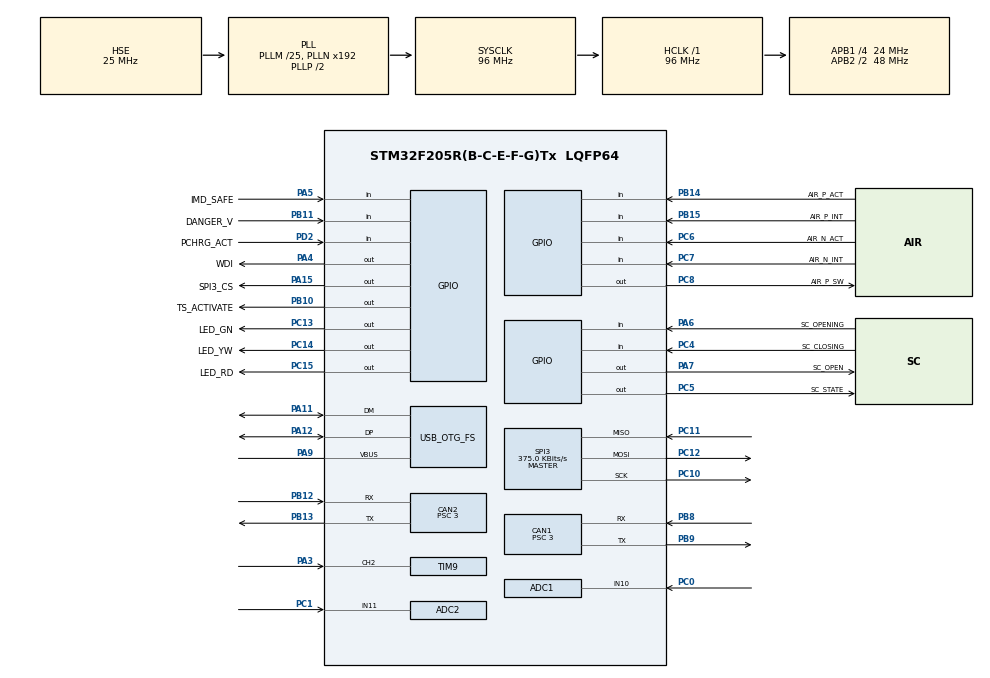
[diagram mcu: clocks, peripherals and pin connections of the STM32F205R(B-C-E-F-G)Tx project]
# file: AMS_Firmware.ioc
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ADC1.Channel-1\#ChannelRegularConversion=ADC_CHANNEL_10
ADC1.ClockPrescaler=ADC_CLOCK_SYNC_PCLK_DIV4
ADC1.NbrOfConversionFlag=1
ADC1.Rank-1\#ChannelRegularConversion=1
ADC1.SamplingTime-1\#ChannelRegularConversion=ADC_SAMPLETIME_3CYCLES
ADC1.master=1
ADC2.Channel-1\#ChannelRegularConversion=ADC_CHANNEL_11
ADC2.ClockPrescaler=ADC_CLOCK_SYNC_PCLK_DIV4
ADC2.NbrOfConversionFlag=1
ADC2.Rank-1\#ChannelRegularConversion=1
ADC2.SamplingTime-1\#ChannelRegularConversion=ADC_SAMPLETIME_3CYCLES
CAN1.BS1=CAN_BS1_13TQ
CAN1.BS2=CAN_BS2_2TQ
CAN1.CalculateBaudRate=500000
CAN1.CalculateTimeBit=2000
CAN1.CalculateTimeQuantum=125.0
CAN1.NART=DISABLE
CAN1.Prescaler=3
CAN1.TTCM=DISABLE
CAN2.BS1=CAN_BS1_13TQ
CAN2.BS2=CAN_BS2_2TQ
CAN2.CalculateBaudRate=500000
CAN2.CalculateTimeBit=2000
CAN2.CalculateTimeQuantum=125.0
CAN2.Mode=CAN_MODE_NORMAL
CAN2.NART=DISABLE
CAN2.Prescaler=3
Mcu.Family=STM32F2
Mcu.Name=STM32F205R(B-C-E-F-G)Tx
Mcu.Package=LQFP64
NVIC.CAN1_RX0_IRQn=true\:0\:0\:false\:false\:true\:true\:true\:true
NVIC.CAN1_TX_IRQn=true\:0\:0\:false\:false\:true\:true\:true\:true
NVIC.CAN2_RX0_IRQn=true\:0\:0\:false\:false\:true\:true\:true\:true
NVIC.CAN2_TX_IRQn=true\:0\:0\:false\:false\:true\:true\:true\:true
NVIC.OTG_FS_IRQn=true\:0\:0\:false\:false\:true\:false\:true\:true
NVIC.PriorityGroup=NVIC_PRIORITYGROUP_4
NVIC.TIM1_BRK_TIM9_IRQn=true\:0\:0\:false\:false\:true\:true\:true\:true
NVIC.TIM2_IRQn=true\:0\:0\:false\:false\:true\:true\:true\:true
PA11.Mode=Device_Only
PA11.Signal=USB_OTG_FS_DM
PA12.Mode=Device_Only
PA12.Signal=USB_OTG_FS_DP
PA13.Mode=Trace_Asynchronous_SW
PA13.Signal=SYS_JTMS-SWDIO
PA14.Mode=Trace_Asynchronous_SW
PA14.Signal=SYS_JTCK-SWCLK
PA15.GPIO_Label=SPI3_CS
PA15.GPIO_Speed=GPIO_SPEED_FREQ_VERY_HIGH
PA15.PinState=GPIO_PIN_SET
PA15.Signal=GPIO_Output
PA3.Signal=S_TIM9_CH2
PA4.GPIO_Label=WDI
PA4.Signal=GPIO_Output
PA5.GPIO_Label=IMD_SAFE
PA5.Signal=GPIO_Input
PA6.GPIO_Label=SC_OPENING
PA6.Signal=GPIO_Input
PA7.GPIO_Label=SC_OPEN
PA7.PinState=GPIO_PIN_SET
PA7.Signal=GPIO_Output
PA9.Mode=Activate_VBUS
PA9.Signal=USB_OTG_FS_VBUS
PB10.GPIO_Label=TS_ACTIVATE
PB10.Signal=GPIO_Output
PB11.GPIO_Label=DANGER_V
PB11.Signal=GPIO_Input
PB12.Mode=CAN_Activate
PB12.Signal=CAN2_RX
PB13.Mode=CAN_Activate
PB13.Signal=CAN2_TX
PB14.GPIO_Label=AIR_P_ACT
PB14.Signal=GPIO_Input
PB15.GPIO_Label=AIR_P_INT
PB15.Signal=GPIO_Input
PB3.Mode=Trace_Asynchronous_SW
PB3.Signal=SYS_JTDO-SWO
PB8.Mode=CAN_Activate
PB8.Signal=CAN1_RX
PB9.Mode=CAN_Activate
PB9.Signal=CAN1_TX
PC0.Signal=ADCx_IN10
PC1.Signal=ADCx_IN11
PC10.Mode=Full_Duplex_Master
PC10.Signal=SPI3_SCK
PC11.Mode=Full_Duplex_Master
PC11.Signal=SPI3_MISO
PC12.Mode=Full_Duplex_Master
PC12.Signal=SPI3_MOSI
PC13.GPIO_Label=LED_GN
PC13.PinState=GPIO_PIN_SET
PC13.Signal=GPIO_Output
PC14-OSC32_IN.GPIO_Label=LED_YW
PC14-OSC32_IN.PinState=GPIO_PIN_SET
PC14-OSC32_IN.Signal=GPIO_Output
PC15-OSC32_OUT.GPIO_Label=LED_RD
PC15-OSC32_OUT.PinState=GPIO_PIN_SET
PC15-OSC32_OUT.Signal=GPIO_Output
PC4.GPIO_Label=SC_CLOSING
PC4.Signal=GPIO_Input
PC5.GPIO_Label=SC_STATE
PC5.PinState=GPIO_PIN_SET
PC5.Signal=GPIO_Output
PC6.GPIO_Label=AIR_N_ACT
PC6.Signal=GPIO_Input
PC7.GPIO_Label=AIR_N_INT
PC7.GPIO_PuPd=GPIO_NOPULL
PC7.Signal=GPIO_Input
PC8.GPIO_Label=AIR_P_SW
PC8.Signal=GPIO_Output
PD2.GPIO_Label=PCHRG_ACT
PD2.Signal=GPIO_Input
PH0-OSC_IN.Mode=HSE-External-Oscillator
PH0-OSC_IN.Signal=RCC_OSC_IN
PH1-OSC_OUT.Mode=HSE-External-Oscillator
PH1-OSC_OUT.Signal=RCC_OSC_OUT
ProjectManager.HeapSize=0x200
ProjectManager.StackSize=0x400
ProjectManager.TargetToolchain=STM32CubeIDE
RCC.48MHZClocksFreq_Value=48000000
RCC.AHBFreq_Value=96000000
RCC.APB1CLKDivider=RCC_HCLK_DIV4
RCC.APB1Freq_Value=24000000
RCC.APB1TimFreq_Value=48000000
RCC.APB2CLKDivider=RCC_HCLK_DIV2
RCC.APB2Freq_Value=48000000
RCC.APB2TimFreq_Value=96000000
RCC.CortexFreq_Value=96000000
RCC.HCLKFreq_Value=96000000
RCC.HSE_VALUE=25000000
RCC.HSI_VALUE=16000000
RCC.LSE_VALUE=32768
RCC.PLLM=25
RCC.PLLSourceVirtual=RCC_PLLSOURCE_HSE
RCC.SYSCLKFreq_VALUE=96000000
RCC.SYSCLKSource=RCC_SYSCLKSOURCE_PLLCLK
RCC.VCOOutputFreq_Value=192000000
SH.ADCx_IN10.0=ADC1_IN10,IN10
SH.ADCx_IN11.0=ADC2_IN11,IN11
SH.S_TIM9_CH2.0=TIM9_CH2,PWM_Input_2
SPI3.BaudRatePrescaler=SPI_BAUDRATEPRESCALER_64
SPI3.CalculateBaudRate=375.0 KBits/s
SPI3.Direction=SPI_DIRECTION_2LINES
SPI3.Mode=SPI_MODE_MASTER
SPI3.VirtualType=VM_MASTER
TIM2.Period=10000
TIM2.Prescaler=48-1
TIM9.Prescaler=24000
USB_DEVICE.CLASS_NAME_FS=CDC
USB_DEVICE.VirtualMode-CDC_FS=Cdc
USB_DEVICE.VirtualModeFS=Cdc_FS
USB_OTG_FS.VirtualMode=Device_Only
VP_TIM2_VS_ClockSourceINT.Mode=Internal
VP_TIM9_VS_ClockSourceINT.Mode=Internal
VP_USB_DEVICE_VS_USB_DEVICE_CDC_FS.Mode=CDC_FS
board=custom

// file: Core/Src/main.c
/* USER CODE BEGIN Header */
/**
  ******************************************************************************
  * @file           : main.c
  * @brief          : Main program body
  ******************************************************************************
  * @attention
  *
  * Copyright (c) 2024 STMicroelectronics.
  * All rights reserved.
  *
  * This software is licensed under terms that can be found in the LICENSE file
  * in the root directory of this software component.
  * If no LICENSE file comes with this software, it is provided AS-IS.
  *
  ******************************************************************************
  */
/* USER CODE END Header */
#include "main.h"
#include "adc.h"
#include "can.h"
#include "spi.h"
#include "tim.h"
#include "usb_device.h"
#include "gpio.h"
#include "usb_control.h"

/* USER CODE BEGIN Includes */
#include "bms.h"
#include "stdio.h"
/* USER CODE END Includes */

void SystemClock_Config(void);

int main(void)
{

  /* MCU Configuration--------------------------------------------------------*/

  /* Reset of all peripherals, Initializes the Flash interface and the Systick. */
  HAL_Init();

  /* Configure the system clock */
  SystemClock_Config();

  /* Initialize all configured peripherals */
  MX_GPIO_Init();
  MX_SPI3_Init();
  MX_TIM2_Init();
  MX_CAN1_Init();
  MX_CAN2_Init();
  MX_USB_DEVICE_Init();
  MX_ADC1_Init();
  MX_ADC2_Init();
  MX_TIM9_Init();
  /* USER CODE BEGIN 2 */
  // Start timer
  HAL_TIM_Base_Start_IT(&htim2);
  HAL_CAN_Start(&hcan1);
  HAL_CAN_Start(&hcan2);
  BMS_init();

    if (HAL_CAN_ActivateNotification(&hcan1, CAN_IT_RX_FIFO0_MSG_PENDING) != HAL_OK)
    {
  	  Error_Handler();
    }

    if (HAL_CAN_ActivateNotification(&hcan2, CAN_IT_RX_FIFO0_MSG_PENDING) != HAL_OK)
    {
  	  Error_Handler();
    }

	//Start input-capture for IMD PWM signal
    HAL_TIM_IC_Start_IT(&htim9, TIM_CHANNEL_2);   // main channel
    HAL_TIM_IC_Start(&htim9, TIM_CHANNEL_1);   // indirect channel

  IVT_init();
  /* USER CODE END 2 */

  /* Infinite loop */
  /* USER CODE BEGIN WHILE */
  while (1)
  {
	 BMS();
	 CAN_Detail_Task();

	      //BMS();

	      //send_usb_measurements();

	      //USB_Task();

  }
    /* USER CODE END WHILE */

}

void SystemClock_Config(void)
{
  RCC_OscInitTypeDef RCC_OscInitStruct = {0};
  RCC_ClkInitTypeDef RCC_ClkInitStruct = {0};

  /** Initializes the RCC Oscillators according to the specified parameters
  * in the RCC_OscInitTypeDef structure.
  */
  RCC_OscInitStruct.OscillatorType = RCC_OSCILLATORTYPE_HSE;
  RCC_OscInitStruct.HSEState = RCC_HSE_ON;
  RCC_OscInitStruct.PLL.PLLState = RCC_PLL_ON;
  RCC_OscInitStruct.PLL.PLLSource = RCC_PLLSOURCE_HSE;
  RCC_OscInitStruct.PLL.PLLM = 25;
  RCC_OscInitStruct.PLL.PLLN = 192;
  RCC_OscInitStruct.PLL.PLLP = RCC_PLLP_DIV2;
  RCC_OscInitStruct.PLL.PLLQ = 4;
  if (HAL_RCC_OscConfig(&RCC_OscInitStruct) != HAL_OK)
  {
    Error_Handler();
  }

  /** Initializes the CPU, AHB and APB buses clocks
  */
  RCC_ClkInitStruct.ClockType = RCC_CLOCKTYPE_HCLK|RCC_CLOCKTYPE_SYSCLK
                              |RCC_CLOCKTYPE_PCLK1|RCC_CLOCKTYPE_PCLK2;
  RCC_ClkInitStruct.SYSCLKSource = RCC_SYSCLKSOURCE_PLLCLK;
  RCC_ClkInitStruct.AHBCLKDivider = RCC_SYSCLK_DIV1;
  RCC_ClkInitStruct.APB1CLKDivider = RCC_HCLK_DIV4;
  RCC_ClkInitStruct.APB2CLKDivider = RCC_HCLK_DIV2;

  if (HAL_RCC_ClockConfig(&RCC_ClkInitStruct, FLASH_LATENCY_3) != HAL_OK)
  {
    Error_Handler();
  }
}

void Error_Handler(void)
{
  __disable_irq();
  while (1)
  {
  }
}
